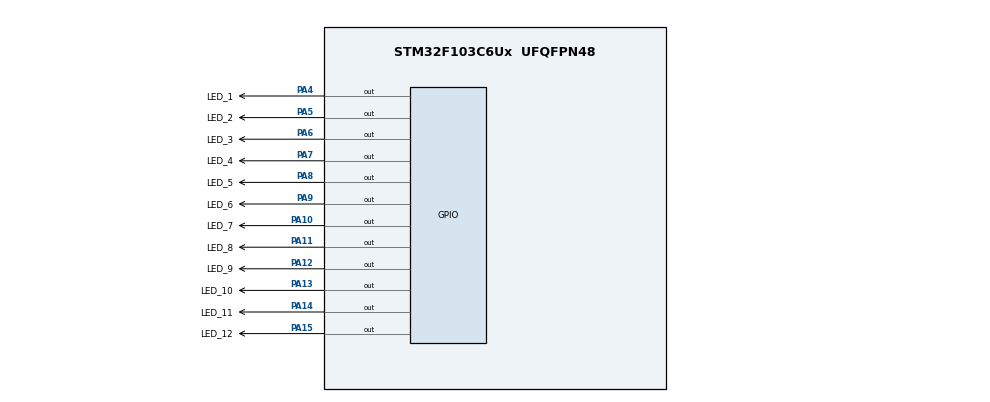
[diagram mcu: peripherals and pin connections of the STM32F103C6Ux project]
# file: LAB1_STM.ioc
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Mcu.Family=STM32F1
Mcu.Name=STM32F103C6Ux
Mcu.Package=UFQFPN48
NVIC.PriorityGroup=NVIC_PRIORITYGROUP_4
PA10.GPIO_Label=LED_7
PA10.Signal=GPIO_Output
PA11.GPIO_Label=LED_8
PA11.Signal=GPIO_Output
PA12.GPIO_Label=LED_9
PA12.Signal=GPIO_Output
PA13.GPIO_Label=LED_10
PA13.Signal=GPIO_Output
PA14.GPIO_Label=LED_11
PA14.Signal=GPIO_Output
PA15.GPIO_Label=LED_12
PA15.Signal=GPIO_Output
PA4.GPIO_Label=LED_1
PA4.Signal=GPIO_Output
PA5.GPIO_Label=LED_2
PA5.Signal=GPIO_Output
PA6.GPIO_Label=LED_3
PA6.Signal=GPIO_Output
PA7.GPIO_Label=LED_4
PA7.Signal=GPIO_Output
PA8.GPIO_Label=LED_5
PA8.Signal=GPIO_Output
PA9.GPIO_Label=LED_6
PA9.Signal=GPIO_Output
ProjectManager.HeapSize=0x200
ProjectManager.StackSize=0x400
ProjectManager.TargetToolchain=STM32CubeIDE
RCC.APB1Freq_Value=8000000
RCC.APB2Freq_Value=8000000
VP_SYS_VS_ND.Mode=No_Debug
board=custom

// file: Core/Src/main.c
/* USER CODE BEGIN Header */
/**
  ******************************************************************************
  * @file           : main.c
  * @brief          : Main program body
  ******************************************************************************
  * @attention
  *
  * <h2><center>&copy; Copyright (c) 2023 STMicroelectronics.
  * All rights reserved.</center></h2>
  *
  * This software component is licensed by ST under BSD 3-Clause license,
  * the "License"; You may not use this file except in compliance with the
  * License. You may obtain a copy of the License at:
  *                        opensource.org/licenses/BSD-3-Clause
  *
  ******************************************************************************
  */
/* USER CODE END Header */
#include "main.h"

void SystemClock_Config(void);
static void MX_GPIO_Init(void);

int main(void)
{

  /* MCU Configuration--------------------------------------------------------*/

  /* Reset of all peripherals, Initializes the Flash interface and the Systick. */
  HAL_Init();

  /* Configure the system clock */
  SystemClock_Config();

  /* Initialize all configured peripherals */
  MX_GPIO_Init();

  /* Infinite loop */
  void clearAllClock(){
	  HAL_GPIO_WritePin(LED_1_GPIO_Port, LED_1_Pin, SET);
	  HAL_GPIO_WritePin(LED_2_GPIO_Port, LED_2_Pin, SET);
	  HAL_GPIO_WritePin(LED_3_GPIO_Port, LED_3_Pin, SET);
	  HAL_GPIO_WritePin(LED_4_GPIO_Port, LED_4_Pin, SET);
	  HAL_GPIO_WritePin(LED_5_GPIO_Port, LED_5_Pin, SET);
	  HAL_GPIO_WritePin(LED_6_GPIO_Port, LED_6_Pin, SET);
	  HAL_GPIO_WritePin(LED_7_GPIO_Port, LED_7_Pin, SET);
	  HAL_GPIO_WritePin(LED_8_GPIO_Port, LED_8_Pin, SET);
	  HAL_GPIO_WritePin(LED_9_GPIO_Port, LED_9_Pin, SET);
	  HAL_GPIO_WritePin(LED_10_GPIO_Port, LED_10_Pin, SET);
	  HAL_GPIO_WritePin(LED_11_GPIO_Port, LED_11_Pin, SET);
	  HAL_GPIO_WritePin(LED_12_GPIO_Port, LED_12_Pin, SET);
  }
  void setNumberOnClock(int num){
 	  switch(num){
 	  	  case 0:
 	  		  HAL_GPIO_WritePin(LED_12_GPIO_Port, LED_12_Pin, RESET);
 	  		  break;
 	  	  case 1:
 	  		  HAL_GPIO_WritePin(LED_1_GPIO_Port, LED_1_Pin, RESET);
 	  		  break;
 	  	  case 2:
 	  		  HAL_GPIO_WritePin(LED_2_GPIO_Port, LED_2_Pin, RESET);
 	  		  break;
 	  	  case 3:
 	  		  HAL_GPIO_WritePin(LED_3_GPIO_Port, LED_3_Pin, RESET);
 	  		  break;
 	  	  case 4:
 	  		  HAL_GPIO_WritePin(LED_4_GPIO_Port, LED_4_Pin, RESET);
 	  		  break;
 	  	  case 5:
 	  		  HAL_GPIO_WritePin(LED_5_GPIO_Port, LED_5_Pin, RESET);
 	  		  break;
 	  	  case 6:
 	  		  HAL_GPIO_WritePin(LED_6_GPIO_Port, LED_6_Pin, RESET);
 	  		  break;
 	  	  case 7:
 	  		  HAL_GPIO_WritePin(LED_7_GPIO_Port, LED_7_Pin, RESET);
 	  		  break;
 	  	  case 8:
 	  		  HAL_GPIO_WritePin(LED_8_GPIO_Port, LED_8_Pin, RESET);
 	  		  break;
 	  	  case 9:
 	  		  HAL_GPIO_WritePin(LED_9_GPIO_Port, LED_9_Pin, RESET);
 	  		  break;
 	  	  case 10:
 	  		  HAL_GPIO_WritePin(LED_10_GPIO_Port, LED_10_Pin, RESET);
 	  		  break;
 	  	  case 11:
 	  		  HAL_GPIO_WritePin(LED_11_GPIO_Port, LED_11_Pin, RESET);
 	  		  break;
 	  	  default:
 	  		  break;
 	  }
   }
  void set_clock_state(int sec_state, int min_state, int hour_state){
	  // clear all leds before update new status
	  clearAllClock();
	  // update status
	  setNumberOnClock(sec_state);
	  setNumberOnClock(min_state);
	  setNumberOnClock(hour_state);
  }
  /* USER CODE BEGIN WHILE */
  int counter = 0;
  int sec = 0;
  int min = 0;
  int hour = 0;
  while (1)
  {
	  sec = counter;
	  set_clock_state(sec/5, min/5, hour);
	  counter++;
	  if(counter >= 60){
		  counter = 0;
		  min++;
	  }
	  if(min >= 60){
		  min = 0;
		  hour++;
	  }
	  if(hour >= 12){
		  hour = 0;
	  }
	  HAL_Delay(1000);
    /* USER CODE END WHILE */

  }
}

void SystemClock_Config(void)
{
  RCC_OscInitTypeDef RCC_OscInitStruct = {0};
  RCC_ClkInitTypeDef RCC_ClkInitStruct = {0};

  /** Initializes the RCC Oscillators according to the specified parameters
  * in the RCC_OscInitTypeDef structure.
  */
  RCC_OscInitStruct.OscillatorType = RCC_OSCILLATORTYPE_HSI;
  RCC_OscInitStruct.HSIState = RCC_HSI_ON;
  RCC_OscInitStruct.HSICalibrationValue = RCC_HSICALIBRATION_DEFAULT;
  RCC_OscInitStruct.PLL.PLLState = RCC_PLL_NONE;
  if (HAL_RCC_OscConfig(&RCC_OscInitStruct) != HAL_OK)
  {
    Error_Handler();
  }
  /** Initializes the CPU, AHB and APB buses clocks
  */
  RCC_ClkInitStruct.ClockType = RCC_CLOCKTYPE_HCLK|RCC_CLOCKTYPE_SYSCLK
                              |RCC_CLOCKTYPE_PCLK1|RCC_CLOCKTYPE_PCLK2;
  RCC_ClkInitStruct.SYSCLKSource = RCC_SYSCLKSOURCE_HSI;
  RCC_ClkInitStruct.AHBCLKDivider = RCC_SYSCLK_DIV1;
  RCC_ClkInitStruct.APB1CLKDivider = RCC_HCLK_DIV1;
  RCC_ClkInitStruct.APB2CLKDivider = RCC_HCLK_DIV1;

  if (HAL_RCC_ClockConfig(&RCC_ClkInitStruct, FLASH_LATENCY_0) != HAL_OK)
  {
    Error_Handler();
  }
}

static void MX_GPIO_Init(void)
{
  GPIO_InitTypeDef GPIO_InitStruct = {0};

  /* GPIO Ports Clock Enable */
  __HAL_RCC_GPIOA_CLK_ENABLE();

  /*Configure GPIO pin Output Level */
  HAL_GPIO_WritePin(GPIOA, LED_1_Pin|LED_2_Pin|LED_3_Pin|LED_4_Pin
                          |LED_5_Pin|LED_6_Pin|LED_7_Pin|LED_8_Pin
                          |LED_9_Pin|LED_10_Pin|LED_11_Pin|LED_12_Pin, GPIO_PIN_RESET);

  /*Configure GPIO pins : LED_1_Pin LED_2_Pin LED_3_Pin LED_4_Pin
                           LED_5_Pin LED_6_Pin LED_7_Pin LED_8_Pin
                           LED_9_Pin LED_10_Pin LED_11_Pin LED_12_Pin */
  GPIO_InitStruct.Pin = LED_1_Pin|LED_2_Pin|LED_3_Pin|LED_4_Pin
                          |LED_5_Pin|LED_6_Pin|LED_7_Pin|LED_8_Pin
                          |LED_9_Pin|LED_10_Pin|LED_11_Pin|LED_12_Pin;
  GPIO_InitStruct.Mode = GPIO_MODE_OUTPUT_PP;
  GPIO_InitStruct.Pull = GPIO_NOPULL;
  GPIO_InitStruct.Speed = GPIO_SPEED_FREQ_LOW;
  HAL_GPIO_Init(GPIOA, &GPIO_InitStruct);

}

void Error_Handler(void)
{
  __disable_irq();
  while (1)
  {
  }
}

/************************ (C) COPYRIGHT STMicroelectronics *****END OF FILE****/
